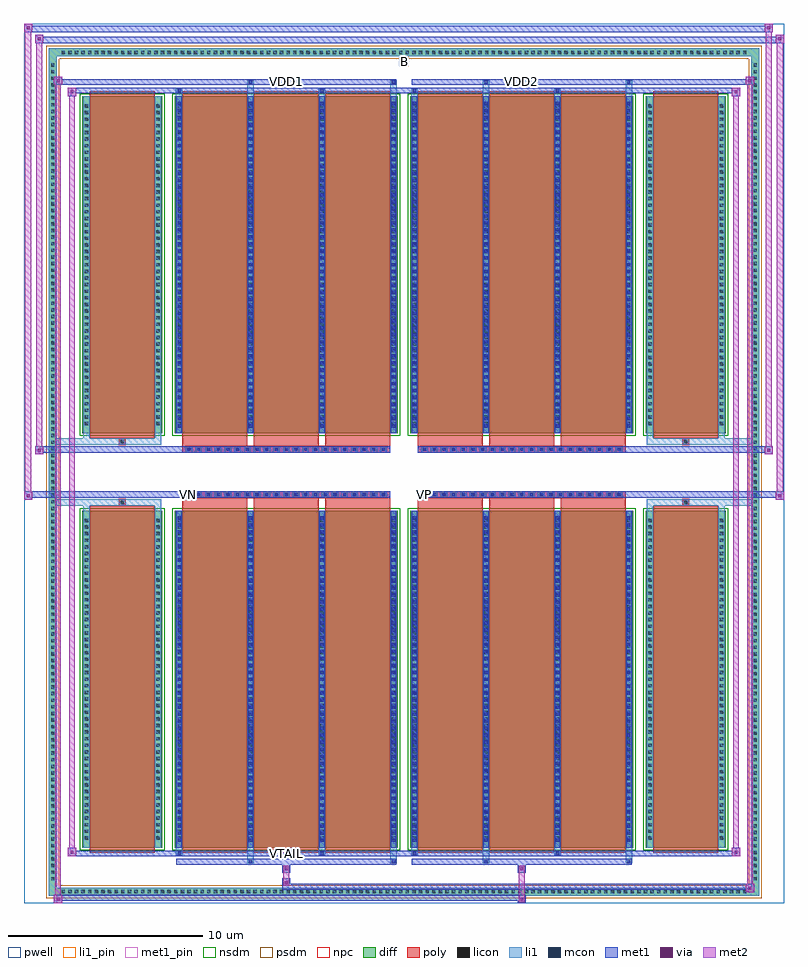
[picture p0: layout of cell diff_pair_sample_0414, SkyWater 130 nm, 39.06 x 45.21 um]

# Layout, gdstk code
import gdstk
lib = gdstk.Library(unit=1e-6, precision=5e-09)
def R(c, l, rs):  # rectangles x0, y0, x1, y1
    for r in rs: c.add(gdstk.rectangle(r[:2], r[2:], *l))
def A(c, l, x, y, w, h, nx, ny, dx, dy):  # array of equal rectangles
    R(c, l, [(x+i*dx, y+j*dy, x+i*dx+w, y+j*dy+h) for i in range(nx) for j in range(ny)])
def P(c, l, *ps):  # polygons
    for p in ps: c.add(gdstk.Polygon(p, *l))
pwell = (64, 44)
diff = (65, 20)
poly = (66, 20)
licon = (66, 44)
li1_pin = (67, 16)
li1 = (67, 20)
mcon = (67, 44)
met1_pin = (68, 16)
met1 = (68, 20)
via = (68, 44)
met2 = (69, 20)
nsdm = (93, 44)
psdm = (94, 20)
npc = (95, 20)

diff_pair_sample_0414 = lib.new_cell('diff_pair_sample_0414')
R(diff_pair_sample_0414, pwell, [(-19.53,-22.17,19.53,23.04), (-16.85,-20.36,-0.01,-0.8), (0.01,-20.36,16.85,-0.8), (-16.85,0.8,-0.01,20.36), (0.01,0.8,16.85,20.36)])
A(diff_pair_sample_0414, diff, -17.715, -21.77, 0.41, 0.41, 104, 2, 0.34, 43.13)
A(diff_pair_sample_0414, diff, -18.26, -21.115, 0.41, 0.41, 1, 124, 0, 0.34)
A(diff_pair_sample_0414, diff, 17.85, -21.115, 0.41, 0.41, 1, 124, 0, 0.34)
R(diff_pair_sample_0414, diff, [(-17.715,-21.77,17.715,-21.36), (-18.26,-21.115,-17.85,21.115), (17.85,-21.115,18.26,21.115), (-16.54,-19.315,-12.42,-1.985), (-11.78,-19.315,-0.32,-1.985), (0.32,-19.315,11.78,-1.985), (12.42,-19.315,16.54,-1.985), (-16.54,1.985,-12.42,19.315), (-11.78,1.985,-0.32,19.315), (0.32,1.985,11.78,19.315), (12.42,1.985,16.54,19.315), (-17.715,21.36,17.715,21.77)])
P(diff_pair_sample_0414, diff, [(18.26,21.77),(-18.26,21.77),(-18.26,-21.36),(-17.85,-21.36),(-17.85,21.36),(17.85,21.36),(17.85,-21.36),(-17.85,-21.36),(-18.26,-21.36),(-18.26,-21.77),(18.26,-21.77)])
A(diff_pair_sample_0414, poly, -11.39, -19.565, 3.34, 17.83, 3, 2, 3.67, 21.3)
A(diff_pair_sample_0414, poly, 0.71, -19.565, 3.34, 17.83, 3, 2, 3.67, 21.3)
A(diff_pair_sample_0414, poly, -11.39, -1.735, 3.34, 0.405, 3, 2, 3.67, 3.065)
A(diff_pair_sample_0414, poly, 0.71, -1.735, 3.34, 0.405, 3, 2, 3.67, 3.065)
A(diff_pair_sample_0414, poly, -11.215, -1.33, 0.33, 0.33, 21, 2, 0.5, 2.33)
A(diff_pair_sample_0414, poly, 0.885, -1.33, 0.33, 0.33, 21, 2, 0.5, 2.33)
R(diff_pair_sample_0414, poly, [(-16.15,-19.565,-12.81,-1.735), (12.81,-19.565,16.15,-1.735), (-14.645,-1.735,-14.315,-1.405), (-14.645,-1.735,-14.315,-1.405), (14.315,-1.735,14.645,-1.405), (14.315,-1.735,14.645,-1.405), (-11.39,-1.33,-0.71,-1), (0.71,-1.33,11.39,-1), (-11.39,1,-0.71,1.33), (0.71,1,11.39,1.33), (-14.645,1.405,-14.315,1.735), (-14.645,1.405,-14.315,1.735), (14.315,1.405,14.645,1.735), (14.315,1.405,14.645,1.735), (-16.15,1.735,-12.81,19.565), (12.81,1.735,16.15,19.565)])
A(diff_pair_sample_0414, licon, -17.595, -21.65, 0.17, 0.17, 104, 2, 0.34, 43.13)
A(diff_pair_sample_0414, licon, -18.14, -20.995, 0.17, 0.17, 1, 124, 0, 0.34)
A(diff_pair_sample_0414, licon, 17.97, -20.995, 0.17, 0.17, 1, 124, 0, 0.34)
A(diff_pair_sample_0414, licon, -16.4, -18.895, 0.17, 0.17, 1, 49, 0, 0.34)
A(diff_pair_sample_0414, licon, -12.73, -18.895, 0.17, 0.17, 1, 49, 0, 0.34)
A(diff_pair_sample_0414, licon, -11.64, -18.895, 0.17, 0.17, 4, 49, 3.67, 0.34)
A(diff_pair_sample_0414, licon, 0.46, -18.895, 0.17, 0.17, 4, 49, 3.67, 0.34)
A(diff_pair_sample_0414, licon, 12.56, -18.895, 0.17, 0.17, 1, 49, 0, 0.34)
A(diff_pair_sample_0414, licon, 16.23, -18.895, 0.17, 0.17, 1, 49, 0, 0.34)
A(diff_pair_sample_0414, licon, -11.135, -1.25, 0.17, 0.17, 21, 2, 0.5, 2.33)
A(diff_pair_sample_0414, licon, 0.965, -1.25, 0.17, 0.17, 21, 2, 0.5, 2.33)
A(diff_pair_sample_0414, licon, -16.4, 2.405, 0.17, 0.17, 1, 49, 0, 0.34)
A(diff_pair_sample_0414, licon, -12.73, 2.405, 0.17, 0.17, 1, 49, 0, 0.34)
A(diff_pair_sample_0414, licon, -11.64, 2.405, 0.17, 0.17, 4, 49, 3.67, 0.34)
A(diff_pair_sample_0414, licon, 0.46, 2.405, 0.17, 0.17, 4, 49, 3.67, 0.34)
A(diff_pair_sample_0414, licon, 12.56, 2.405, 0.17, 0.17, 1, 49, 0, 0.34)
A(diff_pair_sample_0414, licon, 16.23, 2.405, 0.17, 0.17, 1, 49, 0, 0.34)
R(diff_pair_sample_0414, licon, [(-14.565,-1.655,-14.395,-1.485), (14.395,-1.655,14.565,-1.485), (-14.565,1.485,-14.395,1.655), (14.395,1.485,14.565,1.655)])
R(diff_pair_sample_0414, li1_pin, [(-0.25,20.86,0.25,21.36)])
A(diff_pair_sample_0414, li1, -17.675, -21.73, 0.33, 0.33, 104, 2, 0.34, 43.13)
A(diff_pair_sample_0414, li1, -18.22, -21.075, 0.33, 0.33, 1, 124, 0, 0.34)
A(diff_pair_sample_0414, li1, 17.89, -21.075, 0.33, 0.33, 1, 124, 0, 0.34)
A(diff_pair_sample_0414, li1, -11.72, -19.315, 0.33, 17.33, 4, 2, 3.67, 21.3)
A(diff_pair_sample_0414, li1, 0.38, -19.315, 0.33, 17.33, 4, 2, 3.67, 21.3)
A(diff_pair_sample_0414, li1, -11.64, -19.015, 0.17, 0.17, 4, 47, 3.67, 0.36)
A(diff_pair_sample_0414, li1, -11.64, -19.015, 0.17, 16.73, 4, 2, 3.67, 21.3)
A(diff_pair_sample_0414, li1, 0.46, -19.015, 0.17, 0.17, 4, 47, 3.67, 0.36)
A(diff_pair_sample_0414, li1, 0.46, -19.015, 0.17, 16.73, 4, 2, 3.67, 21.3)
A(diff_pair_sample_0414, li1, -16.48, -18.975, 0.33, 0.33, 1, 49, 0, 0.34)
A(diff_pair_sample_0414, li1, -12.81, -18.975, 0.33, 0.33, 1, 49, 0, 0.34)
A(diff_pair_sample_0414, li1, -11.72, -18.975, 0.33, 0.33, 4, 49, 3.67, 0.34)
A(diff_pair_sample_0414, li1, 0.38, -18.975, 0.33, 0.33, 4, 49, 3.67, 0.34)
A(diff_pair_sample_0414, li1, 12.48, -18.975, 0.33, 0.33, 1, 49, 0, 0.34)
A(diff_pair_sample_0414, li1, 16.15, -18.975, 0.33, 0.33, 1, 49, 0, 0.34)
A(diff_pair_sample_0414, li1, -11.215, -1.33, 0.33, 0.33, 21, 2, 0.5, 2.33)
A(diff_pair_sample_0414, li1, 0.885, -1.33, 0.33, 0.33, 21, 2, 0.5, 2.33)
A(diff_pair_sample_0414, li1, -11.64, 2.285, 0.17, 0.17, 4, 47, 3.67, 0.36)
A(diff_pair_sample_0414, li1, 0.46, 2.285, 0.17, 0.17, 4, 47, 3.67, 0.36)
A(diff_pair_sample_0414, li1, -16.48, 2.325, 0.33, 0.33, 1, 49, 0, 0.34)
A(diff_pair_sample_0414, li1, -12.81, 2.325, 0.33, 0.33, 1, 49, 0, 0.34)
A(diff_pair_sample_0414, li1, -11.72, 2.325, 0.33, 0.33, 4, 49, 3.67, 0.34)
A(diff_pair_sample_0414, li1, 0.38, 2.325, 0.33, 0.33, 4, 49, 3.67, 0.34)
A(diff_pair_sample_0414, li1, 12.48, 2.325, 0.33, 0.33, 1, 49, 0, 0.34)
A(diff_pair_sample_0414, li1, 16.15, 2.325, 0.33, 0.33, 1, 49, 0, 0.34)
R(diff_pair_sample_0414, li1, [(-18.26,-21.77,-17.85,-21.36), (-18.26,-21.77,-17.85,-21.36), (-17.85,-21.77,17.85,-21.36), (17.85,-21.77,18.26,-21.36), (17.85,-21.77,18.26,-21.36), (-18.26,-21.36,-17.85,21.36), (17.85,-21.36,18.26,21.36), (-8.05,-20.12,-7.72,-19.315), (-7.97,-20.12,-7.8,-19.95), (-0.71,-20.12,-0.38,-19.315), (-0.63,-20.12,-0.46,-19.95), (4.05,-20.12,4.38,-19.315), (4.13,-20.12,4.3,-19.95), (11.39,-20.12,11.72,-19.315), (11.47,-20.12,11.64,-19.95), (-11.72,-19.69,-11.39,-19.315), (-11.64,-19.69,-11.47,-19.52), (-4.38,-19.69,-4.05,-19.315), (-4.3,-19.69,-4.13,-19.52), (0.38,-19.69,0.71,-19.315), (0.46,-19.69,0.63,-19.52), (7.72,-19.69,8.05,-19.315), (7.8,-19.69,7.97,-19.52), (-16.48,-19.315,-16.15,-1.985), (-12.81,-19.315,-12.48,-1.985), (12.48,-19.315,12.81,-1.985), (16.15,-19.315,16.48,-1.985), (-16.48,-1.985,-16.15,-1.405), (-12.81,-1.985,-12.48,-1.405), (12.48,-1.985,12.81,-1.405), (16.15,-1.985,16.48,-1.405), (-18.26,-1.735,-14.645,-1.405), (-16.48,-1.735,-14.645,-1.405), (-14.645,-1.735,-14.315,-1.405), (-14.315,-1.735,-12.48,-1.405), (12.48,-1.735,14.315,-1.405), (14.315,-1.735,14.645,-1.405), (14.315,-1.735,18.26,-1.405), (14.645,-1.735,16.48,-1.405), (-18.26,1.405,-14.645,1.735), (-16.48,1.405,-14.645,1.735), (-16.48,1.405,-16.15,1.985), (-14.645,1.405,-14.315,1.735), (-14.315,1.405,-12.48,1.735), (-12.81,1.405,-12.48,1.985), (12.48,1.405,14.315,1.735), (12.48,1.405,12.81,1.985), (14.315,1.405,14.645,1.735), (14.315,1.405,18.26,1.735), (14.645,1.405,16.48,1.735), (16.15,1.405,16.48,1.985), (-16.48,1.985,-16.15,19.315), (-12.81,1.985,-12.48,19.315), (12.48,1.985,12.81,19.315), (16.15,1.985,16.48,19.315), (-11.72,19.315,-11.39,19.69), (-8.05,19.315,-7.72,20.12), (-4.38,19.315,-4.05,19.69), (-0.71,19.315,-0.38,20.12), (0.38,19.315,0.71,19.69), (4.05,19.315,4.38,20.12), (7.72,19.315,8.05,19.69), (11.39,19.315,11.72,20.12), (-11.64,19.52,-11.47,19.69), (-4.3,19.52,-4.13,19.69), (0.46,19.52,0.63,19.69), (7.8,19.52,7.97,19.69), (-7.97,19.95,-7.8,20.12), (-0.63,19.95,-0.46,20.12), (4.13,19.95,4.3,20.12), (11.47,19.95,11.64,20.12), (-18.26,21.36,-17.85,21.77), (-18.26,21.36,-17.85,21.77), (-17.85,21.36,17.85,21.77), (17.85,21.36,18.26,21.77), (17.85,21.36,18.26,21.77)])
A(diff_pair_sample_0414, mcon, -11.64, -19.015, 0.17, 0.17, 4, 47, 3.67, 0.36)
A(diff_pair_sample_0414, mcon, 0.46, -19.015, 0.17, 0.17, 4, 47, 3.67, 0.36)
A(diff_pair_sample_0414, mcon, -11.135, -1.25, 0.17, 0.17, 21, 2, 0.5, 2.33)
A(diff_pair_sample_0414, mcon, 0.965, -1.25, 0.17, 0.17, 21, 2, 0.5, 2.33)
A(diff_pair_sample_0414, mcon, -11.64, 2.285, 0.17, 0.17, 4, 47, 3.67, 0.36)
A(diff_pair_sample_0414, mcon, 0.46, 2.285, 0.17, 0.17, 4, 47, 3.67, 0.36)
R(diff_pair_sample_0414, mcon, [(-7.97,-20.12,-7.8,-19.95), (-0.63,-20.12,-0.46,-19.95), (4.13,-20.12,4.3,-19.95), (11.47,-20.12,11.64,-19.95), (-11.64,-19.69,-11.47,-19.52), (-4.3,-19.69,-4.13,-19.52), (0.46,-19.69,0.63,-19.52), (7.8,-19.69,7.97,-19.52), (-11.64,19.52,-11.47,19.69), (-4.3,19.52,-4.13,19.69), (0.46,19.52,0.63,19.69), (7.8,19.52,7.97,19.69), (-7.97,19.95,-7.8,20.12), (-0.63,19.95,-0.46,20.12), (4.13,19.95,4.3,20.12), (11.47,19.95,11.64,20.12)])
R(diff_pair_sample_0414, met1_pin, [(-6.185,-19.73,-5.915,-19.46), (-11.185,-1.29,-10.915,-1.02), (0.915,-1.29,1.185,-1.02), (-6.185,19.91,-5.915,20.18), (5.915,19.91,6.185,20.18)])
A(diff_pair_sample_0414, met1, -11.7, -19.315, 0.29, 17.33, 4, 2, 3.67, 21.3)
A(diff_pair_sample_0414, met1, 0.4, -19.315, 0.29, 17.33, 4, 2, 3.67, 21.3)
A(diff_pair_sample_0414, met1, -11.7, -19.075, 0.29, 0.29, 4, 47, 3.67, 0.36)
A(diff_pair_sample_0414, met1, 0.4, -19.075, 0.29, 0.29, 4, 47, 3.67, 0.36)
A(diff_pair_sample_0414, met1, -11.195, -1.31, 0.29, 0.29, 21, 2, 0.5, 2.33)
A(diff_pair_sample_0414, met1, 0.905, -1.31, 0.29, 0.29, 21, 2, 0.5, 2.33)
A(diff_pair_sample_0414, met1, -11.7, 2.225, 0.29, 0.29, 4, 47, 3.67, 0.36)
A(diff_pair_sample_0414, met1, 0.4, 2.225, 0.29, 0.29, 4, 47, 3.67, 0.36)
R(diff_pair_sample_0414, met1, [(-17.99,-22.17,-17.56,-21.74), (5.835,-22.17,6.265,-21.74), (-17.99,-22.03,6.265,-21.74), (17.56,-21.6,17.99,-21.17), (-6.265,-21.46,17.99,-21.17), (-6.265,-21.32,-5.835,-20.89), (-6.265,-20.61,-5.835,-20.18), (5.835,-20.61,6.265,-20.18), (-11.7,-20.18,-0.4,-19.89), (-8.03,-20.18,-7.74,-19.89), (-0.69,-20.18,-0.4,-19.89), (0.4,-20.18,11.7,-19.89), (4.07,-20.18,4.36,-19.89), (11.41,-20.18,11.7,-19.89), (-17.28,-19.75,-16.85,-19.32), (-17.28,-19.75,-11.7,-19.46), (-11.7,-19.75,-11.41,-19.46), (-11.7,-19.75,-0.4,-19.46), (-4.36,-19.75,-4.07,-19.46), (-0.4,-19.75,0.4,-19.46), (0.4,-19.75,0.69,-19.46), (0.4,-19.75,11.7,-19.46), (7.74,-19.75,8.03,-19.46), (11.7,-19.75,17.28,-19.46), (16.85,-19.75,17.28,-19.32), (-19.53,-1.43,-19.1,-1), (19.1,-1.43,19.53,-1), (-19.53,-1.33,-0.71,-1), (-11.39,-1.33,-0.71,-1), (0.71,-1.33,11.39,-1), (0.71,-1.33,19.53,-1), (-18.96,0.9,-18.53,1.33), (18.53,0.9,18.96,1.33), (-18.96,1,-11.39,1.33), (-11.39,1,-0.71,1.33), (0.71,1,11.39,1.33), (11.39,1,18.96,1.33), (-17.28,19.32,-16.85,19.75), (16.85,19.32,17.28,19.75), (-17.28,19.46,-11.7,19.75), (-11.7,19.46,-11.41,19.75), (-11.7,19.46,-0.4,19.75), (-4.36,19.46,-4.07,19.75), (-0.4,19.46,0.4,19.75), (0.4,19.46,0.69,19.75), (0.4,19.46,11.7,19.75), (7.74,19.46,8.03,19.75), (11.7,19.46,17.28,19.75), (-17.99,19.89,-17.56,20.32), (-17.99,19.89,-11.7,20.18), (-11.7,19.89,-0.4,20.18), (-8.03,19.89,-7.74,20.18), (-0.69,19.89,-0.4,20.18), (0.4,19.89,11.7,20.18), (4.07,19.89,4.36,20.18), (11.41,19.89,11.7,20.18), (11.7,19.89,17.99,20.18), (17.56,19.89,17.99,20.32), (-18.96,22.04,-18.53,22.47), (-18.96,22.04,-16.85,22.37), (-16.85,22.04,16.85,22.37), (16.85,22.04,19.53,22.37), (19.1,22.04,19.53,22.47), (-19.53,22.61,-19.1,23.04), (-19.53,22.61,-16.85,22.94), (-16.85,22.61,16.85,22.94), (16.85,22.61,18.96,22.94), (18.53,22.61,18.96,23.04)])
R(diff_pair_sample_0414, via, [(-17.85,-22.03,-17.7,-21.88), (5.975,-22.03,6.125,-21.88), (17.7,-21.46,17.85,-21.31), (-6.125,-21.18,-5.975,-21.03), (-6.125,-20.47,-5.975,-20.32), (5.975,-20.47,6.125,-20.32), (-17.14,-19.61,-16.99,-19.46), (16.99,-19.61,17.14,-19.46), (-19.39,-1.29,-19.24,-1.14), (19.24,-1.29,19.39,-1.14), (-18.82,1.04,-18.67,1.19), (18.67,1.04,18.82,1.19), (-17.14,19.46,-16.99,19.61), (16.99,19.46,17.14,19.61), (-17.85,20.03,-17.7,20.18), (17.7,20.03,17.85,20.18), (-18.82,22.18,-18.67,22.33), (19.24,22.18,19.39,22.33), (-19.39,22.75,-19.24,22.9), (18.67,22.75,18.82,22.9)])
R(diff_pair_sample_0414, met2, [(-17.99,-22.17,-17.56,-21.74), (-17.92,-22.17,-17.63,20.32), (-17.63,-22.17,-17.56,-21.74), (-17.94,-22.12,-17.61,-21.79), (5.885,-22.12,6.215,-21.79), (5.885,-21.79,6.215,-20.56), (17.56,-21.6,17.99,-21.17), (17.63,-21.6,17.92,20.32), (17.92,-21.6,17.99,-21.17), (17.61,-21.55,17.94,-21.22), (-6.215,-21.27,-5.885,-20.94), (-6.215,-20.94,-5.885,-20.56), (-6.215,-20.56,-5.885,-20.23), (5.885,-20.56,6.215,-20.23), (-17.28,-19.75,-16.85,-19.32), (-17.21,-19.75,-16.92,19.75), (-16.92,-19.75,-16.85,-19.32), (16.85,-19.75,17.28,-19.32), (16.92,-19.75,17.21,19.75), (17.21,-19.75,17.28,-19.32), (-17.23,-19.7,-16.9,-19.37), (16.9,-19.7,17.23,-19.37), (-19.53,-1.43,-19.1,-1), (-19.48,-1.43,-19.15,23.04), (-19.15,-1.43,-19.1,-1), (19.1,-1.43,19.53,-1), (19.15,-1.43,19.48,22.47), (19.48,-1.43,19.53,-1), (-19.48,-1.38,-19.15,-1.05), (19.15,-1.38,19.48,-1.05), (-18.96,0.9,-18.53,1.33), (-18.91,0.9,-18.58,22.47), (-18.58,0.9,-18.53,1.33), (18.53,0.9,18.96,1.33), (18.58,0.9,18.91,23.04), (18.91,0.9,18.96,1.33), (-18.91,0.95,-18.58,1.28), (18.58,0.95,18.91,1.28), (-17.28,19.32,-16.85,19.75), (-16.92,19.32,-16.85,19.75), (16.85,19.32,17.28,19.75), (17.21,19.32,17.28,19.75), (-17.23,19.37,-16.9,19.7), (16.9,19.37,17.23,19.7), (-17.99,19.89,-17.56,20.32), (-17.63,19.89,-17.56,20.32), (17.56,19.89,17.99,20.32), (17.92,19.89,17.99,20.32), (-17.94,19.94,-17.61,20.27), (17.61,19.94,17.94,20.27), (-18.96,22.04,-18.53,22.47), (-18.58,22.04,-18.53,22.47), (19.1,22.04,19.53,22.47), (19.48,22.04,19.53,22.47), (-18.91,22.09,-18.58,22.42), (19.15,22.09,19.48,22.42), (-19.53,22.61,-19.1,23.04), (-19.15,22.61,-19.1,23.04), (18.53,22.61,18.96,23.04), (18.91,22.61,18.96,23.04), (-19.48,22.66,-19.15,22.99), (18.58,22.66,18.91,22.99)])
R(diff_pair_sample_0414, nsdm, [(-16.67,-19.445,-12.29,-1.855), (-11.91,-19.445,-0.19,-1.855), (0.19,-19.445,11.91,-1.855), (12.29,-19.445,16.67,-1.855), (-16.67,1.855,-12.29,19.445), (-11.91,1.855,-0.19,19.445), (0.19,1.855,11.91,19.445), (12.29,1.855,16.67,19.445)])
P(diff_pair_sample_0414, psdm, [(18.39,21.9),(-18.39,21.9),(-18.39,-21.23),(-17.72,-21.23),(-17.72,21.23),(17.72,21.23),(17.72,-21.23),(-17.72,-21.23),(-18.39,-21.23),(-18.39,-21.9),(18.39,-21.9)])
A(diff_pair_sample_0414, npc, -11.235, -1.35, 0.37, 0.37, 21, 2, 0.5, 2.33)
A(diff_pair_sample_0414, npc, 0.865, -1.35, 0.37, 0.37, 21, 2, 0.5, 2.33)
R(diff_pair_sample_0414, npc, [(-14.665,-1.755,-14.295,-1.385), (14.295,-1.755,14.665,-1.385), (-11.235,-1.35,-10.365,-0.98), (-11.235,-1.35,-10.365,-0.98), (-10.735,-1.35,-9.865,-0.98), (-10.735,-1.35,-9.865,-0.98), (-10.235,-1.35,-9.365,-0.98), (-10.235,-1.35,-9.365,-0.98), (-9.735,-1.35,-8.865,-0.98), (-9.735,-1.35,-8.865,-0.98), (-9.235,-1.35,-8.365,-0.98), (-9.235,-1.35,-8.365,-0.98), (-8.735,-1.35,-7.865,-0.98), (-8.735,-1.35,-7.865,-0.98), (-8.235,-1.35,-7.365,-0.98), (-8.235,-1.35,-7.365,-0.98), (-7.735,-1.35,-6.865,-0.98), (-7.735,-1.35,-6.865,-0.98), (-7.235,-1.35,-6.365,-0.98), (-7.235,-1.35,-6.365,-0.98), (-6.735,-1.35,-5.865,-0.98), (-6.735,-1.35,-5.865,-0.98), (-6.235,-1.35,-5.365,-0.98), (-6.235,-1.35,-5.365,-0.98), (-5.735,-1.35,-4.865,-0.98), (-5.735,-1.35,-4.865,-0.98), (-5.235,-1.35,-4.365,-0.98), (-5.235,-1.35,-4.365,-0.98), (-4.735,-1.35,-3.865,-0.98), (-4.735,-1.35,-3.865,-0.98), (-4.235,-1.35,-3.365,-0.98), (-4.235,-1.35,-3.365,-0.98), (-3.735,-1.35,-2.865,-0.98), (-3.735,-1.35,-2.865,-0.98), (-3.235,-1.35,-2.365,-0.98), (-3.235,-1.35,-2.365,-0.98), (-2.735,-1.35,-1.865,-0.98), (-2.735,-1.35,-1.865,-0.98), (-2.235,-1.35,-1.365,-0.98), (-2.235,-1.35,-1.365,-0.98), (-1.735,-1.35,-0.865,-0.98), (-1.735,-1.35,-0.865,-0.98), (0.865,-1.35,1.735,-0.98), (0.865,-1.35,1.735,-0.98), (1.365,-1.35,2.235,-0.98), (1.365,-1.35,2.235,-0.98), (1.865,-1.35,2.735,-0.98), (1.865,-1.35,2.735,-0.98), (2.365,-1.35,3.235,-0.98), (2.365,-1.35,3.235,-0.98), (2.865,-1.35,3.735,-0.98), (2.865,-1.35,3.735,-0.98), (3.365,-1.35,4.235,-0.98), (3.365,-1.35,4.235,-0.98), (3.865,-1.35,4.735,-0.98), (3.865,-1.35,4.735,-0.98), (4.365,-1.35,5.235,-0.98), (4.365,-1.35,5.235,-0.98), (4.865,-1.35,5.735,-0.98), (4.865,-1.35,5.735,-0.98), (5.365,-1.35,6.235,-0.98), (5.365,-1.35,6.235,-0.98), (5.865,-1.35,6.735,-0.98), (5.865,-1.35,6.735,-0.98), (6.365,-1.35,7.235,-0.98), (6.365,-1.35,7.235,-0.98), (6.865,-1.35,7.735,-0.98), (6.865,-1.35,7.735,-0.98), (7.365,-1.35,8.235,-0.98), (7.365,-1.35,8.235,-0.98), (7.865,-1.35,8.735,-0.98), (7.865,-1.35,8.735,-0.98), (8.365,-1.35,9.235,-0.98), (8.365,-1.35,9.235,-0.98), (8.865,-1.35,9.735,-0.98), (8.865,-1.35,9.735,-0.98), (9.365,-1.35,10.235,-0.98), (9.365,-1.35,10.235,-0.98), (9.865,-1.35,10.735,-0.98), (9.865,-1.35,10.735,-0.98), (10.365,-1.35,11.235,-0.98), (10.365,-1.35,11.235,-0.98), (-11.235,0.98,-10.365,1.35), (-11.235,0.98,-10.365,1.35), (-10.735,0.98,-9.865,1.35), (-10.735,0.98,-9.865,1.35), (-10.235,0.98,-9.365,1.35), (-10.235,0.98,-9.365,1.35), (-9.735,0.98,-8.865,1.35), (-9.735,0.98,-8.865,1.35), (-9.235,0.98,-8.365,1.35), (-9.235,0.98,-8.365,1.35), (-8.735,0.98,-7.865,1.35), (-8.735,0.98,-7.865,1.35), (-8.235,0.98,-7.365,1.35), (-8.235,0.98,-7.365,1.35), (-7.735,0.98,-6.865,1.35), (-7.735,0.98,-6.865,1.35), (-7.235,0.98,-6.365,1.35), (-7.235,0.98,-6.365,1.35), (-6.735,0.98,-5.865,1.35), (-6.735,0.98,-5.865,1.35), (-6.235,0.98,-5.365,1.35), (-6.235,0.98,-5.365,1.35), (-5.735,0.98,-4.865,1.35), (-5.735,0.98,-4.865,1.35), (-5.235,0.98,-4.365,1.35), (-5.235,0.98,-4.365,1.35), (-4.735,0.98,-3.865,1.35), (-4.735,0.98,-3.865,1.35), (-4.235,0.98,-3.365,1.35), (-4.235,0.98,-3.365,1.35), (-3.735,0.98,-2.865,1.35), (-3.735,0.98,-2.865,1.35), (-3.235,0.98,-2.365,1.35), (-3.235,0.98,-2.365,1.35), (-2.735,0.98,-1.865,1.35), (-2.735,0.98,-1.865,1.35), (-2.235,0.98,-1.365,1.35), (-2.235,0.98,-1.365,1.35), (-1.735,0.98,-0.865,1.35), (-1.735,0.98,-0.865,1.35), (0.865,0.98,1.735,1.35), (0.865,0.98,1.735,1.35), (1.365,0.98,2.235,1.35), (1.365,0.98,2.235,1.35), (1.865,0.98,2.735,1.35), (1.865,0.98,2.735,1.35), (2.365,0.98,3.235,1.35), (2.365,0.98,3.235,1.35), (2.865,0.98,3.735,1.35), (2.865,0.98,3.735,1.35), (3.365,0.98,4.235,1.35), (3.365,0.98,4.235,1.35), (3.865,0.98,4.735,1.35), (3.865,0.98,4.735,1.35), (4.365,0.98,5.235,1.35), (4.365,0.98,5.235,1.35), (4.865,0.98,5.735,1.35), (4.865,0.98,5.735,1.35), (5.365,0.98,6.235,1.35), (5.365,0.98,6.235,1.35), (5.865,0.98,6.735,1.35), (5.865,0.98,6.735,1.35), (6.365,0.98,7.235,1.35), (6.365,0.98,7.235,1.35), (6.865,0.98,7.735,1.35), (6.865,0.98,7.735,1.35), (7.365,0.98,8.235,1.35), (7.365,0.98,8.235,1.35), (7.865,0.98,8.735,1.35), (7.865,0.98,8.735,1.35), (8.365,0.98,9.235,1.35), (8.365,0.98,9.235,1.35), (8.865,0.98,9.735,1.35), (8.865,0.98,9.735,1.35), (9.365,0.98,10.235,1.35), (9.365,0.98,10.235,1.35), (9.865,0.98,10.735,1.35), (9.865,0.98,10.735,1.35), (10.365,0.98,11.235,1.35), (10.365,0.98,11.235,1.35), (-14.665,1.385,-14.295,1.755), (14.295,1.385,14.665,1.755)])
diff_pair_sample_0414.add(gdstk.Label('VTAIL', (-6.05,-19.595), layer=68, texttype=5))
diff_pair_sample_0414.add(gdstk.Label('VN', (-11.05,-1.155), layer=68, texttype=5))
diff_pair_sample_0414.add(gdstk.Label('VP', (1.05,-1.155), layer=68, texttype=5))
diff_pair_sample_0414.add(gdstk.Label('B', (0,21.11), layer=67, texttype=5))
diff_pair_sample_0414.add(gdstk.Label('VDD2', (6.05,20.045), layer=68, texttype=5))
diff_pair_sample_0414.add(gdstk.Label('VDD1', (-6.05,20.045), layer=68, texttype=5))

lib.write_gds('diff_pair_sample_0414.gds')
